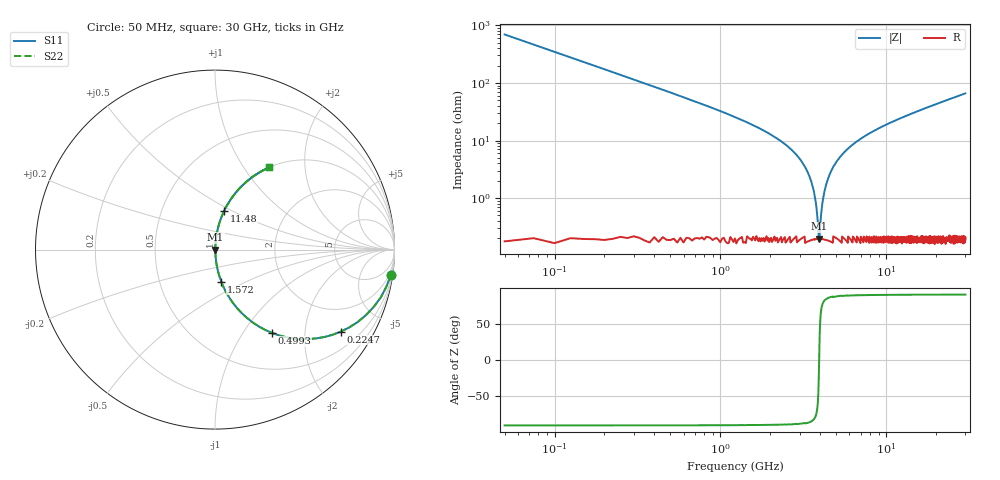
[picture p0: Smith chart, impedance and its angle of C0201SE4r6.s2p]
!	AVX Thin Film Operation 	Date: April 2014
!	Description: Accu-P® Series, Thin Film  SMD RF Capacitor
!	Part Number: 02013K4R6ABSTR
# MHZ S MA R 50
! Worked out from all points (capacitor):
!   1201 points, 50 MHz to 30 GHz, reference 50 ohm
!   read as one part in series: C = 4.6 pF near 199.8 MHz
!   lowest |Z| = 198 mohm at 3.943 GHz (marker M1)
!   series resonance near 3.938 GHz, so ESL is about 350 pH
!   S11 on the Smith chart (normalised r, x): 50 MHz: 1, -14; 224.7 MHz: 1.01, -3.07; 499.2 MHz: 1.00, -1.36; 1.572 GHz: 1.00, -0.37; 11.48 GHz: 1.00, +0.45; 30 GHz: 1.00, +1.32
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50  0.99 -8.2  0.143 81.8  0.143 81.8  0.99 -8.2
224.708  0.837 -33.1  0.546 56.9  0.546 56.9  0.837 -33.1
499.25  0.563 -55.6  0.825 34.2  0.825 34.2  0.563 -55.6
898.583  0.342 -69.7  0.938 20.0  0.938 20.0  0.342 -69.7
1572.458  0.182 -78.9  0.981 10.5  0.981 10.5  0.182 -78.9
2645.667  0.071 -84.4  0.996 4.1  0.996 4.1  0.071 -84.4
3219.708  0.036 -84.9  0.997 2.0  0.997 2.0  0.036 -84.9
3569.125  0.017 -82.7  0.998 1.0  0.998 1.0  0.017 -82.7
3693.917  0.011 -79.7  0.998 0.6  0.998 0.6  0.011 -79.7
3843.667  0.004683 -65.6  0.998 0.2  0.998 0.2  0.004683 -65.6
3943.5  0.00193 6.7  0.998 -0.0  0.998 -0.0  0.00193 6.7
4043.333  0.004991 67.2  0.998 -0.3  0.998 -0.3  0.004991 67.2
4218.042  0.012 80.3  0.998 -0.7  0.998 -0.7  0.012 80.3
4392.75  0.019 83.2  0.998 -1.1  0.998 -1.1  0.019 83.2
5041.667  0.044 85.0  0.997 -2.5  0.997 -2.5  0.044 85.0
6838.667  0.101 83.1  0.993 -5.8  0.993 -5.8  0.101 83.1
10058.29  0.186 78.7  0.981 -10.7  0.981 -10.7  0.186 78.7
11480.92  0.22 76.8  0.974 -12.7  0.974 -12.7  0.22 76.8
15025  0.297 72.3  0.953 -17.3  0.953 -17.3  0.297 72.3
20016.67  0.394 66.6  0.917 -23.2  0.917 -23.2  0.394 66.6
25033.29  0.478 61.3  0.877 -28.5  0.877 -28.5  0.478 61.3
30000  0.549 56.6  0.834 -33.3  0.834 -33.3  0.549 56.6
